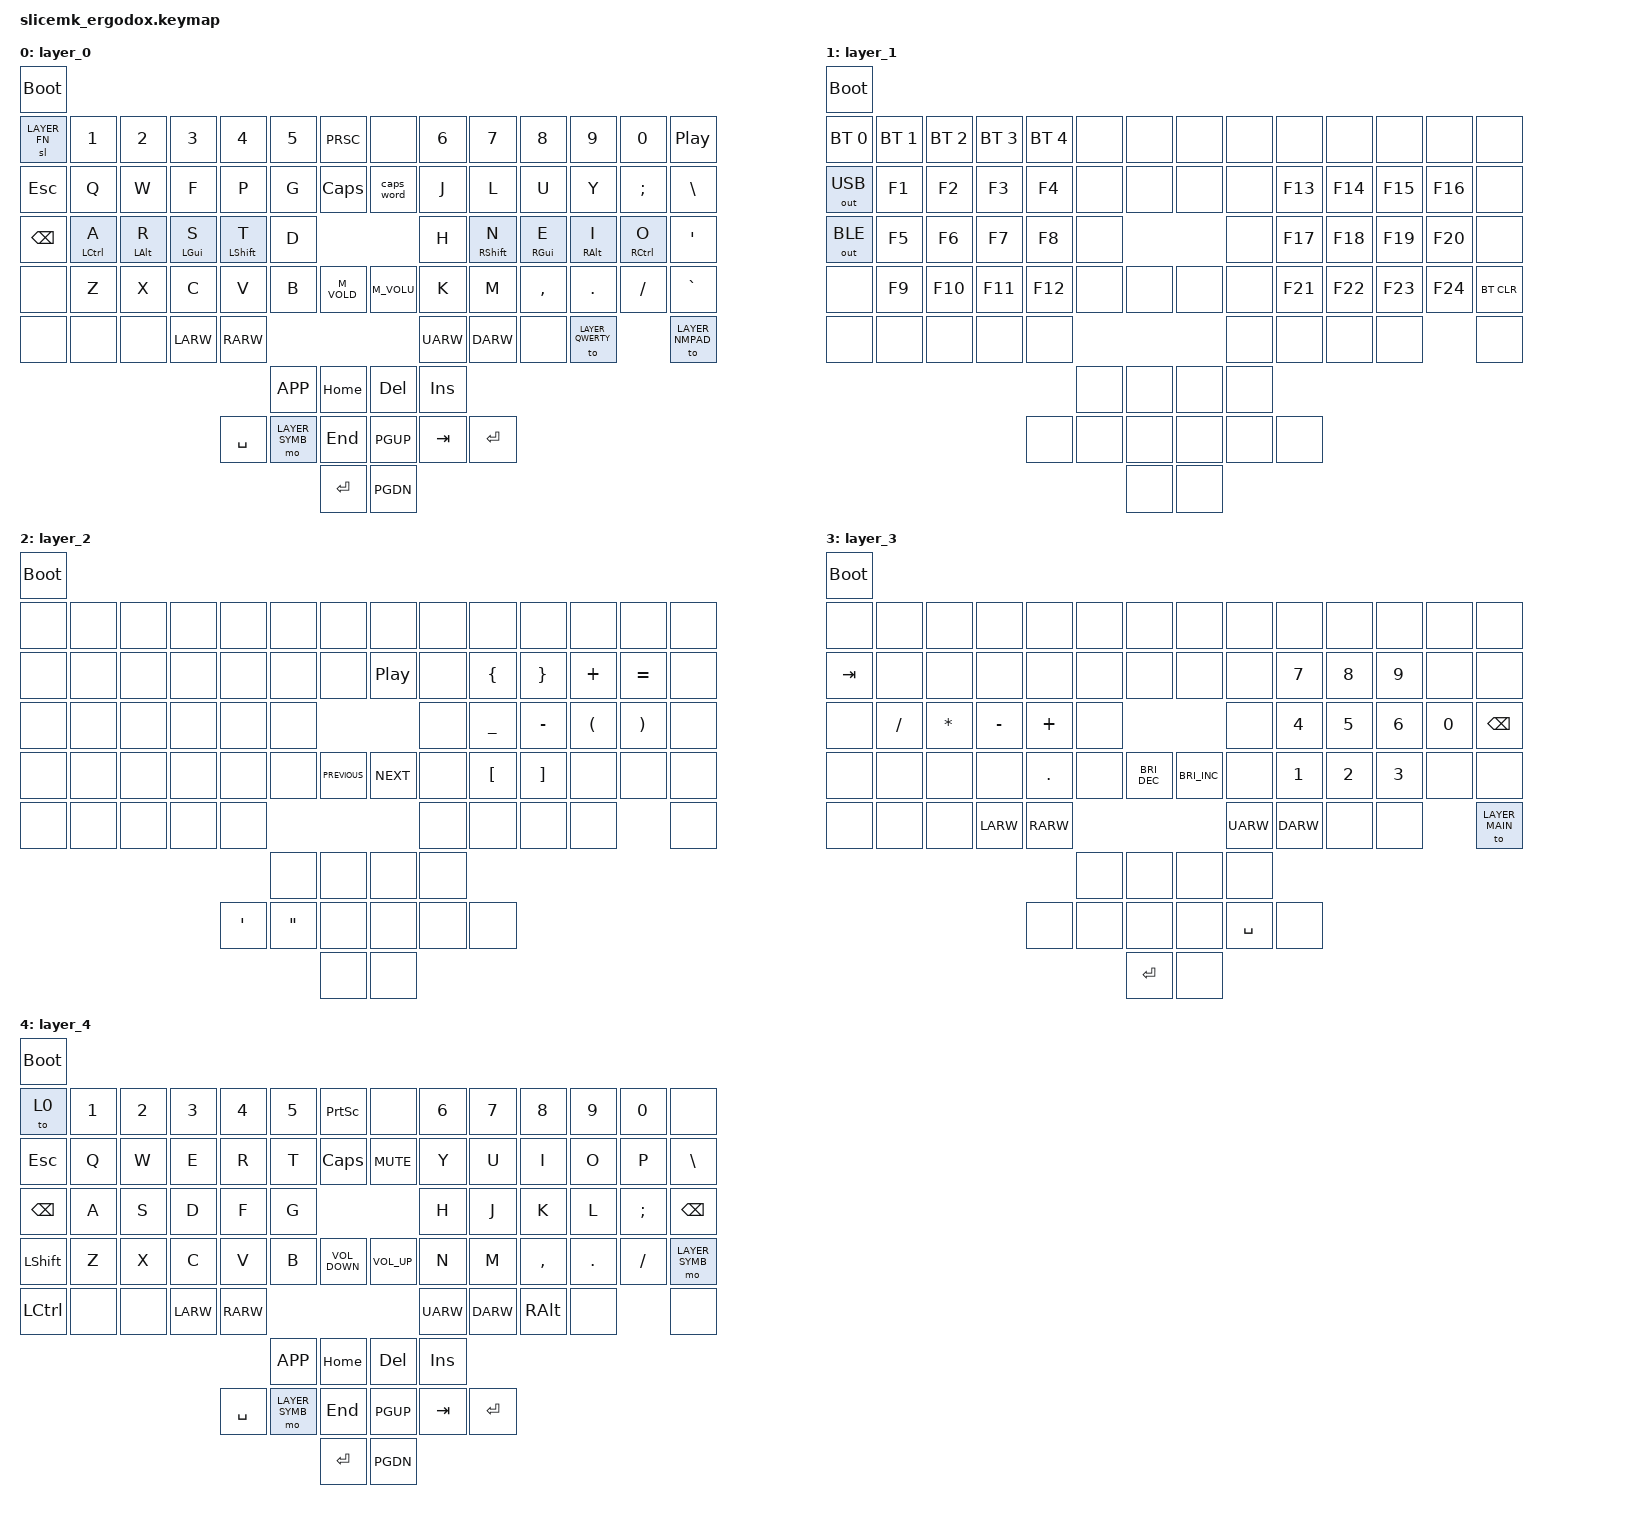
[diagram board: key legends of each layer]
#include <behaviors.dtsi>
#include <dt-bindings/zmk/bt.h>
#include <dt-bindings/zmk/keys.h>
#include <dt-bindings/zmk/outputs.h>
#include <dt-bindings/zmk/rgb.h>

#define LAYER_MAIN 0
#define LAYER_FN 1
#define LAYER_SYMB 2
#define LAYER_NMPAD 3
#define LAYER_QWERTY 4

&mt {
    require-prior-idle-ms = <250>;
	tapping-term-ms = <250>;
};

/ {
	behaviors {
		bhm: balanced_homerow_mods {
			compatible = "zmk,behavior-hold-tap";
			label = "HOMEROW_MODS";
			#binding-cells = <2>;
			tapping-term-ms = <200>;    // <---[[moderate duration]]
			quick-tap-ms = <0>;
			flavor = "balanced";
			bindings = <&kp>, <&kp>;
		};
	};

	keymap {
		compatible = "zmk,keymap";

		layer_0 {
			bindings = <
				&bootloader
				&sl LAYER_FN   &kp NUMBER_1 &kp NUMBER_2 &kp NUMBER_3 &kp NUMBER_4     &kp NUMBER_5   &kp PRSC        &none      &kp NUMBER_6 &kp NUMBER_7 &kp NUMBER_8 &kp NUMBER_9 &kp NUMBER_0  &kp C_PLAY_PAUSE
				&kp ESC        &kp Q        &kp W        &kp F        &kp P            &kp G          &kp CLCK        &caps_word &kp J        &kp L        &kp U        &kp Y        &kp SEMICOLON &kp BSLH
				&kp BKSP       &bhm LCTRL A  &bhm LALT R   &bhm LGUI S   &bhm LSHFT T  &kp D                                     &kp H        &bhm RSHFT N &bhm RGUI E  &bhm RALT I  &bhm RCTRL O  &kp SQT
				&none          &kp Z        &kp X        &kp C        &kp V            &kp B          &kp M_VOLD      &kp M_VOLU &kp K        &kp M        &kp CMMA     &kp DOT      &kp FSLH      &kp GRAV
				&none          &none        &none        &kp LARW     &kp RARW                                                   &kp UARW     &kp DARW     &none        &to LAYER_QWERTY           &to LAYER_NMPAD

				                                                                 &kp K_APP      &kp HOME        &kp DEL    &kp INS
				                                                    &kp SPACE    &mo LAYER_SYMB &kp END         &kp PGUP   &kp TAB      &kp ENTER
				                                                                                &kp RET         &kp PGDN
			>;
		};

		layer_1 {
			bindings = <
				&bootloader
				&bt BT_SEL 0 &bt BT_SEL 1 &bt BT_SEL 2 &bt BT_SEL 3 &bt BT_SEL 4 &none &none &none &none &none   &none   &none   &none   &none
				&out OUT_USB &kp F1       &kp F2       &kp F3       &kp F4       &none &none &none &none &kp F13 &kp F14 &kp F15 &kp F16 &none
				&out OUT_BLE &kp F5       &kp F6       &kp F7       &kp F8       &none             &none &kp F17 &kp F18 &kp F19 &kp F20 &none
				&none        &kp F9       &kp F10      &kp F11      &kp F12      &none &none &none &none &kp F21 &kp F22 &kp F23 &kp F24 &bt BT_CLR
				&none        &none        &none        &none        &none                                &none   &none   &none   &none   &none
				                                                                 &none &none &none &none
				                                                    &none        &none &none &none &none &none
				                                                                       &none &none
			>;
		};

		layer_2 {
			bindings = <
				&bootloader
				&none &none &none &none &none            &none             &none          &none            &none &none          &none           &none    &none     &none
				&none &none &none &none &none            &none             &none          &kp C_PLAY_PAUSE &none &kp LEFT_BRACE &kp RIGHT_BRACE &kp PLUS &kp EQUAL &none
				&none &none &none &none &none            &none                                             &none &kp UNDERSCORE &kp MINUS       &kp LPAR &kp RPAR  &none
				&none &none &none &none &none            &none             &kp C_PREVIOUS &kp C_NEXT       &none &kp LBKT       &kp RBKT        &none    &none     &none
				&none &none &none &none &none                                                                    &none          &none           &none    &none     &none
				                                         &none             &none          &none            &none
				                        &kp SINGLE_QUOTE &kp DOUBLE_QUOTES &none          &none            &none &none
				                                                           &none          &none
			>;
		};

		layer_3 {
			bindings = <
				&bootloader
				&none   &none     &none        &none     &none    &none &none                &none                &none   &none        &none        &none        &none        &none
				&kp TAB &none     &none        &none     &none    &none &none                &none                &none   &kp NUMBER_7 &kp NUMBER_8 &kp NUMBER_9 &none        &none
				&none   &kp SLASH &kp ASTERISK &kp MINUS &kp PLUS &none                                           &none   &kp NUMBER_4 &kp NUMBER_5 &kp NUMBER_6 &kp NUMBER_0 &kp BKSP
				&none   &none     &none        &none     &kp DOT  &none &kp C_BRIGHTNESS_DEC &kp C_BRIGHTNESS_INC &none   &kp NUMBER_1 &kp NUMBER_2 &kp NUMBER_3 &none        &none
				&none   &none     &none        &kp LARW  &kp RARW                                                         &kp UARW     &kp DARW     &none        &none        &to LAYER_MAIN
				                                                  &none &none                &none                &none
				                                         &none    &none &none                &none                &kp SPC &none
				                                                        &kp RET              &none
			>;
		};

		layer_4 {
			bindings = <
				&bootloader
				&to 0          &kp NUMBER_1    &kp NUMBER_2 &kp NUMBER_3   &kp NUMBER_4   &kp NUMBER_5     &kp PRINTSCREEN           &none           &kp NUMBER_6 &kp NUMBER_7   &kp NUMBER_8    &kp NUMBER_9  &kp NUMBER_0    &none
				&kp ESC        &kp Q           &kp W        &kp E          &kp R          &kp T            &kp CAPSLOCK              &kp C_MUTE      &kp Y        &kp U          &kp I           &kp O         &kp P           &kp BACKSLASH
				&kp BKSP       &kp A           &kp S        &kp D          &kp F          &kp G                                                      &kp H        &kp J          &kp K           &kp L         &kp SEMICOLON   &kp BACKSPACE
				&kp LSHIFT     &kp Z           &kp X        &kp C          &kp V          &kp B            &kp C_VOLUME_DOWN         &kp C_VOLUME_UP &kp N        &kp M          &kp COMMA       &kp PERIOD    &kp SLASH       &mo LAYER_SYMB
				&kp LCTRL      &none	       &none        &kp LARW       &kp RARW                                                                               &kp UARW       &kp DARW        &kp RIGHT_ALT &none           &none

			                                                                                  &kp K_APP        &kp HOME                  &kp DEL    &kp INS
				                                                           &kp SPACE      &mo LAYER_SYMB   &kp END                   &kp PGUP   &kp TAB      &kp ENTER
				                                                                                           &kp RET                   &kp PGDN
             >;
         };

	};
};
